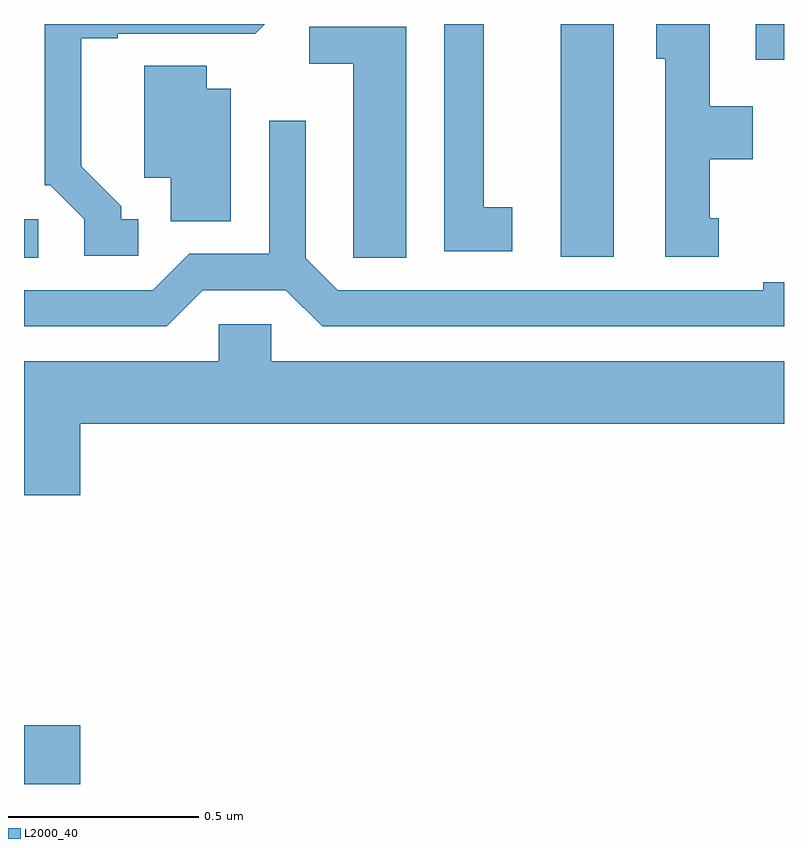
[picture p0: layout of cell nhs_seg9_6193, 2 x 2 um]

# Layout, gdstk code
import gdstk
lib = gdstk.Library(unit=1e-6, precision=1e-09)
def R(c, l, rs):  # rectangles x0, y0, x1, y1
    for r in rs: c.add(gdstk.rectangle(r[:2], r[2:], *l))
def P(c, l, *ps):  # polygons
    for p in ps: c.add(gdstk.Polygon(p, *l))
L2000_40 = (2000, 40)

nhs_seg9_6193 = lib.new_cell('nhs_seg9_6193')
R(nhs_seg9_6193, L2000_40, [(189,1167.5,189.148,1167.655), (189,1168.885,189.037,1168.986), (190.412,1168.887,190.552,1169.5), (190.926,1169.406,191,1169.5)])
P(nhs_seg9_6193, L2000_40, [(189.301,1168.986),(189.256,1168.986),(189.256,1169.021),(189.151,1169.126),(189.151,1169.463),(189.247,1169.463),(189.247,1169.475),(189.512,1169.475),(189.512,1169.474),(189.608,1169.474),(189.634,1169.5),(189.054,1169.5),(189.054,1169.076),(189.069,1169.076),(189.159,1168.986),(189.159,1168.89),(189.301,1168.89)],
  [(190.285,1169.018),(190.21,1169.018),(190.21,1169.5),(190.106,1169.5),(190.106,1168.902),(190.285,1168.902)],
  [(190.828,1168.989),(190.804,1168.989),(190.804,1169.144),(190.918,1169.144),(190.918,1169.284),(190.804,1169.284),(190.804,1169.5),(190.664,1169.5),(190.664,1169.409),(190.688,1169.409),(190.688,1168.887),(190.828,1168.887)],
  [(190.006,1169.493),(189.75,1169.493),(189.75,1169.396),(189.866,1169.396),(189.866,1168.993),(189.867,1168.993),(189.867,1168.885),(190.006,1168.885)],
  [(189.544,1169.329),(189.481,1169.329),(189.481,1169.39),(189.317,1169.39),(189.317,1169.096),(189.386,1169.096),(189.386,1168.981),(189.544,1168.981)],
  [(189.471,1168.8),(189.689,1168.8),(189.785,1168.704),(191,1168.704),(191,1168.82),(190.946,1168.82),(190.946,1168.8),(189.825,1168.8),(189.741,1168.884),(189.741,1169.245),(189.645,1169.245),(189.645,1168.896),(189.435,1168.896),(189.339,1168.8),(189,1168.8),(189,1168.704),(189.375,1168.704)],
  [(189.148,1168.448),(191,1168.448),(191,1168.612),(189.651,1168.612),(189.651,1168.71),(189.513,1168.71),(189.513,1168.612),(189,1168.612),(189,1168.26),(189.148,1168.26)])

lib.write_gds('nhs_seg9_6193.gds')
